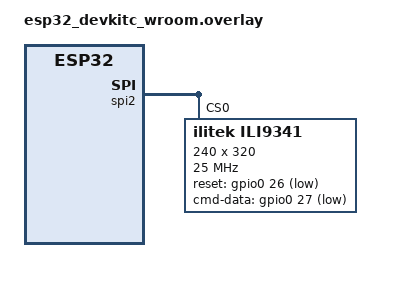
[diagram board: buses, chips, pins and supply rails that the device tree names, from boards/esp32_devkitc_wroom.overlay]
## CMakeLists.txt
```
cmake_minimum_required(VERSION 3.20.0)
find_package(Zephyr REQUIRED HINTS $ENV{ZEPHYR_BASE})
project(lvgl_hello_world)

target_sources(app PRIVATE src/main.c)
```

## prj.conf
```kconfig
CONFIG_DISPLAY=y
CONFIG_LVGL=y
```

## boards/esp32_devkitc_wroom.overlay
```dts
/ {
	chosen {
		zephyr,display = &ili9341;
	};
};

/* zephyrproject/zephyr/boards/xtensa/esp32_devkitc_wroom/esp32_devkitc_wroom-pinctrl.dtsi */

&pinctrl {
	spim2_default {
		group1 {
			pinmux = <SPIM2_MISO_GPIO12>,
				 <SPIM2_SCLK_GPIO14>,
				 <SPIM2_CSEL_GPIO15>;
		};
		group2 {
			pinmux = <SPIM2_MOSI_GPIO13>;
			output-low;
		};
	};
};

&spi2 {
    ili9341: ili9341@0 {
		compatible = "ilitek,ili9341";
		spi-max-frequency = <25000000>;
		reg = <0>;
		reset-gpios = <&gpio0 26 GPIO_ACTIVE_LOW>;
		cmd-data-gpios = <&gpio0 27 GPIO_ACTIVE_LOW>;
		width = <240>;
		height = <320>;
	};
};
```

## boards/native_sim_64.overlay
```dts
/ {
    sdl_dc: sdl_dc {
      height = <240>;
      width = <320>;
    };
};
```

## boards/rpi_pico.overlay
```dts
/ {
	chosen {
		zephyr,display = &ili9341;
	};
};

/* zephyrproject/zephyr/boards/arm/rpi_pico/rpi_pico-pinctrl.dtsi */

&pinctrl {
	spi0_default {
		group1 {
			pinmux = <SPI0_CSN_P17>, <SPI0_SCK_P18>, <SPI0_TX_P19>;
		};
		group2 {
			pinmux = <SPI0_RX_P16>;
			input-enable;
		};
	};
};

&spi0 {
    ili9341: ili9341@0 {
		compatible = "ilitek,ili9341";
		spi-max-frequency = <62500000>;
		reg = <0>;
		reset-gpios = <&gpio0 14 GPIO_ACTIVE_LOW>;
		cmd-data-gpios = <&gpio0 15 GPIO_ACTIVE_LOW>;
		width = <240>;
		height = <320>;
	};
};
```

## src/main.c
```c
/*
 * Copyright (c) 2018 Jan Van Winkel <jan.van_winkel@dxplore.eu>
 *
 * SPDX-License-Identifier: Apache-2.0
 */

#include <zephyr/device.h>
#include <zephyr/devicetree.h>
#include <zephyr/drivers/display.h>
#include <zephyr/drivers/gpio.h>
#include <lvgl.h>
#include <stdio.h>
#include <string.h>
#include <zephyr/kernel.h>

#include <zephyr/logging/log.h>
LOG_MODULE_REGISTER(app);

static uint32_t count;

#ifdef CONFIG_GPIO
static struct gpio_dt_spec button_gpio = GPIO_DT_SPEC_GET_OR(
		DT_ALIAS(sw0), gpios, {0});
static struct gpio_callback button_callback;

static void button_isr_callback(const struct device *port,
				struct gpio_callback *cb,
				uint32_t pins)
{
	ARG_UNUSED(port);
	ARG_UNUSED(cb);
	ARG_UNUSED(pins);

	count = 0;
}
#endif

int main(void)
{
	char count_str[11] = {0};
	const struct device *display_dev;
	lv_obj_t *hello_world_label;
	lv_obj_t *count_label;

	display_dev = DEVICE_DT_GET(DT_CHOSEN(zephyr_display));
	if (!device_is_ready(display_dev)) {
		LOG_ERR("Device not ready, aborting test");
		return 0;
	}

#ifdef CONFIG_GPIO
	if (device_is_ready(button_gpio.port)) {
		int err;

		err = gpio_pin_configure_dt(&button_gpio, GPIO_INPUT);
		if (err) {
			LOG_ERR("failed to configure button gpio: %d", err);
			return 0;
		}

		gpio_init_callback(&button_callback, button_isr_callback,
				   BIT(button_gpio.pin));

		err = gpio_add_callback(button_gpio.port, &button_callback);
		if (err) {
			LOG_ERR("failed to add button callback: %d", err);
			return 0;
		}

		err = gpio_pin_interrupt_configure_dt(&button_gpio,
						      GPIO_INT_EDGE_TO_ACTIVE);
		if (err) {
			LOG_ERR("failed to enable button callback: %d", err);
			return 0;
		}
	}
#endif

	if (IS_ENABLED(CONFIG_LV_Z_POINTER_KSCAN)) {
		lv_obj_t *hello_world_button;

		hello_world_button = lv_btn_create(lv_scr_act());
		lv_obj_align(hello_world_button, LV_ALIGN_CENTER, 0, 0);
		hello_world_label = lv_label_create(hello_world_button);
	} else {
		hello_world_label = lv_label_create(lv_scr_act());
	}

	lv_label_set_text(hello_world_label, "Donizete!");
	lv_obj_align(hello_world_label, LV_ALIGN_CENTER, 0, 0);

	count_label = lv_label_create(lv_scr_act());
	lv_obj_align(count_label, LV_ALIGN_BOTTOM_MID, 0, 0);

	lv_task_handler();
	display_blanking_off(display_dev);

	while (1) {
		if ((count % 100) == 0U) {
			sprintf(count_str, "%d", count/100U);
			lv_label_set_text(count_label, count_str);
		}
		lv_task_handler();
		++count;
		k_sleep(K_MSEC(10));
	}
}
```
